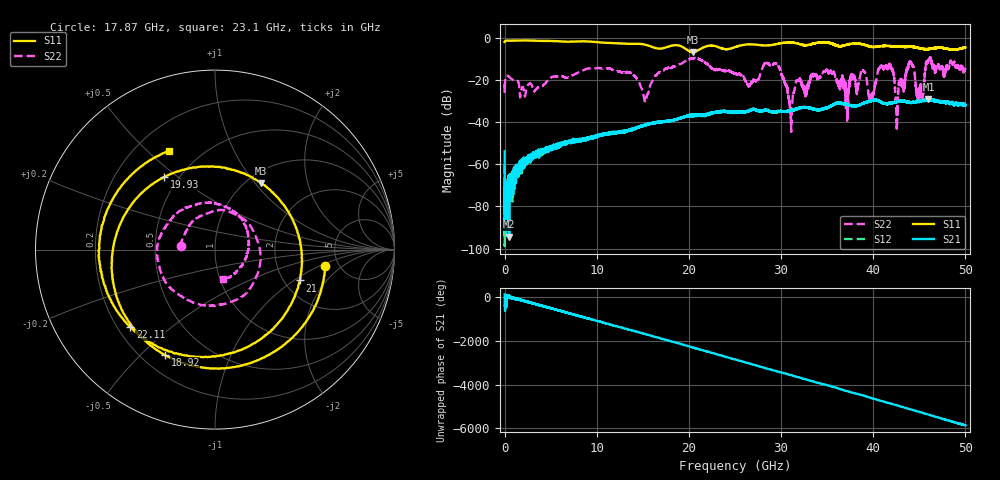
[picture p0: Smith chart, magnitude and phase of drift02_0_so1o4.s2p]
!Created with skrf (http://scikit-rf.org).
# Hz S RI R 50.0
!freq ReS11 ImS11 ReS21 ImS21 ReS12 ImS12 ReS22 ImS22
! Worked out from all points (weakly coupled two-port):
!   10001 points, 300 kHz to 50 GHz, reference 50 ohm
!   highest |S21| = -29.09 dB at 46 GHz (marker M1); lowest = -94.3 dB at 495.3 MHz (marker M2)
!   lowest |S11| = -6.9 dB at 20.43 GHz (marker M3), VSWR 2.64, Z = 57.9 + j53.7 ohm
!   |S11| at or under -10 dB: nowhere
!   |S22| runs from -44.7 to -9.2 dB; largest |S21 - S12| = 0.0029
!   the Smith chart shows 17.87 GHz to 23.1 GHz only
!   S11 on the Smith chart (normalised r, x): 17.87 GHz: 3.91, -1.16; 18.92 GHz: 0.29, -0.59; 19.93 GHz: 0.42, +0.45; 21 GHz: 2.42, -1.11; 22.11 GHz: 0.25, -0.37; 23.1 GHz: 0.34, +0.59
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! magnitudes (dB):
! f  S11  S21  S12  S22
! 300 kHz  -2.1  -53.9  -60.3  -21.8
! 495.3 MHz  -1.4  -94.3  -69.7  -18.6
! 8.335 GHz  -1.7  -48.1  -48.8  -15.8
! 15.29 GHz  -3.4  -41.0  -41.4  -29.6
! 16.67 GHz  -5.2  -40.1  -40.1  -16.8
! 17.87 GHz  -4.1  -39.5  -39.4  -14.3
! 18.92 GHz  -3.7  -38.3  -38.3  -12.6
! 19.93 GHz  -6.1  -37.1  -37.0  -10.3
! 20.43 GHz  -6.9  -36.9  -36.6  -9.8
! 21 GHz  -6.0  -37.0  -37.0  -9.9
! 22.11 GHz  -3.9  -36.4  -36.4  -12.9
! 23.1 GHz  -4.3  -35.1  -35.1  -15.4
! 25 GHz  -4.5  -35.4  -35.2  -17.2
! 29.49 GHz  -3.1  -35.1  -35.2  -12.3
! 31.04 GHz  -2.3  -34.6  -34.7  -37.9
! 33.34 GHz  -3.0  -33.4  -33.6  -17.6
! 38.92 GHz  -3.3  -31.0  -31.0  -15.7
! 39.74 GHz  -4.3  -30.1  -30.1  -28.4
! 41.67 GHz  -4.0  -31.0  -31.1  -13.1
! 42.57 GHz  -4.3  -30.3  -30.3  -39.9
! 46 GHz  -5.4  -29.1  -29.4  -11.2
! 50 GHz  -4.7  -31.9  -31.6  -15.1
